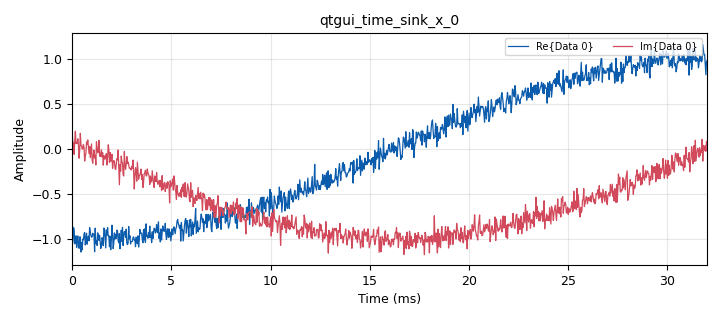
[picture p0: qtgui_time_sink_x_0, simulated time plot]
options:
  parameters:
    generate_options: qt_gui
    id: default
    output_language: python
    title: Not titled yet
  states: {}

blocks:
- name: samp_rate
  id: variable
  parameters:
    value: '32000'
  states: {}
- name: analog_noise_source_x_0
  id: analog_noise_source_x
  parameters:
    amp: '0.1'
    noise_type: analog.GR_GAUSSIAN
    seed: '0'
    type: complex
  states: {}
- name: analog_sig_source_x_0
  id: analog_sig_source_x
  parameters:
    amp: '1'
    freq: '16'
    offset: '0'
    phase: '0'
    samp_rate: samp_rate
    type: complex
    waveform: analog.GR_COS_WAVE
  states: {}
- name: blocks_add_xx_0
  id: blocks_add_xx
  parameters:
    type: complex
  states: {}
- name: blocks_throttle_0
  id: blocks_throttle
  parameters:
    samples_per_second: samp_rate
    type: complex
  states: {}
- name: qtgui_time_sink_x_0
  id: qtgui_time_sink_x
  parameters:
    autoscale: 'True'
    entags: 'False'
    size: '1024'
    srate: samp_rate
    type: complex
    update_time: '0.1'
  states: {}

connections:
- [analog_noise_source_x_0, '0', blocks_add_xx_0, '0']
- [analog_sig_source_x_0, '0', blocks_add_xx_0, '1']
- [blocks_add_xx_0, '0', blocks_throttle_0, '0']
- [blocks_throttle_0, '0', qtgui_time_sink_x_0, '0']

metadata:
  file_format: 1
  grc_version: 3.10.3.0
